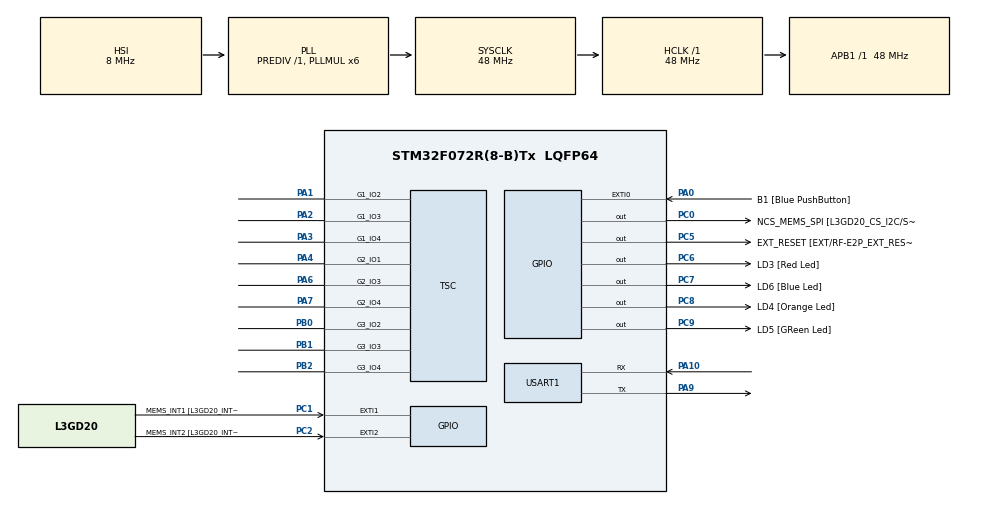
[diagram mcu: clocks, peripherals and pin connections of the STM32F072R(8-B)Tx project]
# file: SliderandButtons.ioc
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Mcu.Family=STM32F0
Mcu.Name=STM32F072R(8-B)Tx
Mcu.Package=LQFP64
PA0.GPIO_Label=B1 [Blue PushButton]
PA0.GPIO_ModeDefaultEXTI=GPIO_MODE_EVT_RISING
PA0.Signal=GPXTI0
PA1.Mode=G1_IO2-Channel
PA1.Signal=TSC_G1_IO2
PA10.Mode=Asynchronous
PA10.Signal=USART1_RX
PA13.GPIO_Label=SWDIO
PA13.Mode=Serial_Wire
PA13.Signal=SYS_SWDIO
PA14.GPIO_Label=SWCLK
PA14.Mode=Serial_Wire
PA14.Signal=SYS_SWCLK
PA2.Mode=G1_IO3-Channel
PA2.Signal=TSC_G1_IO3
PA3.Mode=G1_IO4-Sampling
PA3.Signal=TSC_G1_IO4
PA4.Mode=G2_IO1-Channel
PA4.Signal=TSC_G2_IO1
PA6.Mode=G2_IO3-Channel
PA6.Signal=TSC_G2_IO3
PA7.Mode=G2_IO4-Sampling
PA7.Signal=TSC_G2_IO4
PA9.Mode=Asynchronous
PA9.Signal=USART1_TX
PB0.Mode=G3_IO2-Channel
PB0.Signal=TSC_G3_IO2
PB1.Mode=G3_IO3-Sampling
PB1.Signal=TSC_G3_IO3
PB2.Mode=G3_IO4-Channel
PB2.Signal=TSC_G3_IO4
PC0.GPIO_Label=NCS_MEMS_SPI [L3GD20_CS_I2C/SPI]
PC0.Signal=GPIO_Output
PC1.GPIO_Label=MEMS_INT1 [L3GD20_INT1]
PC1.GPIO_ModeDefaultEXTI=GPIO_MODE_EVT_RISING
PC1.Signal=GPXTI1
PC2.GPIO_Label=MEMS_INT2 [L3GD20_INT2]
PC2.GPIO_ModeDefaultEXTI=GPIO_MODE_EVT_RISING
PC2.Signal=GPXTI2
PC5.GPIO_Label=EXT_RESET [EXT/RF-E2P_EXT_RESET]
PC5.Signal=GPIO_Output
PC6.GPIO_Label=LD3 [Red Led]
PC6.Signal=GPIO_Output
PC7.GPIO_Label=LD6 [Blue Led]
PC7.Signal=GPIO_Output
PC8.GPIO_Label=LD4 [Orange Led]
PC8.Signal=GPIO_Output
PC9.GPIO_Label=LD5 [GReen Led]
PC9.Signal=GPIO_Output
ProjectManager.HeapSize=0x200
ProjectManager.StackSize=0x400
ProjectManager.TargetToolchain=MDK-ARM V5.32
RCC.AHBFreq_Value=48000000
RCC.APB1Freq_Value=48000000
RCC.APB1TimFreq_Value=48000000
RCC.HCLKFreq_Value=48000000
RCC.PLLMUL=RCC_PLL_MUL6
RCC.SYSCLKFreq_VALUE=48000000
RCC.SYSCLKSource=RCC_SYSCLKSOURCE_PLLCLK
TOUCHSENSING.IO_3CH_LIN_H_NBR1_CH1=G1_IO3
TOUCHSENSING.IO_3CH_LIN_H_NBR1_CH1-TouchSensing_Enabled=G1_IO3
TOUCHSENSING.IO_3CH_LIN_H_NBR1_CH2=G2_IO3
TOUCHSENSING.IO_3CH_LIN_H_NBR1_CH3=G3_IO2
TOUCHSENSING.IO_3CH_LIN_H_NBR2_CH1=G1_IO2
TOUCHSENSING.IO_3CH_LIN_H_NBR2_CH2=G2_IO1
TOUCHSENSING.IO_3CH_LIN_H_NBR2_CH3=G3_IO4
TOUCHSENSING.IO_TOUCHKEY1-TouchSensing_Enabled=G2_IO1
TOUCHSENSING.TSLPRM_COEFF_TH=2
TOUCHSENSING.TSLPRM_SENSORS_DATAS=TSLPRM_USE_3CH_LIN_H_NBR1 1 3 TSLPRM_USE_3CH_LIN_H_NBR2 1 3 
TOUCHSENSING.TSLPRM_TKEY_DETECT_IN_TH=100
TOUCHSENSING.TSLPRM_TKEY_DETECT_OUT_TH=95
TOUCHSENSING.TSLPRM_TOTAL_TOUCHKEYS=0
TOUCHSENSING.TSLPRM_USE_3CH_LIN_H=1
TOUCHSENSING.TSLPRM_USE_3CH_LIN_H_NBR=2
TSC.ChannelIOs-G1_IO2-Channel=TSC_GROUP1_IO2
TSC.ChannelIOs-G1_IO3-Channel=TSC_GROUP1_IO3
TSC.ChannelIOs-G2_IO1-Channel=TSC_GROUP2_IO1
TSC.ChannelIOs-G2_IO3-Channel=TSC_GROUP2_IO3
TSC.ChannelIOs-G3_IO2-Channel=TSC_GROUP3_IO2
TSC.ChannelIOs-G3_IO4-Channel=TSC_GROUP3_IO4
TSC.SamplingIOs-G1_IO4-Sampling=TSC_GROUP1_IO4
TSC.SamplingIOs-G2_IO4-Sampling=TSC_GROUP2_IO4
TSC.SamplingIOs-G3_IO3-Sampling=TSC_GROUP3_IO3
USART1.VirtualMode-Asynchronous=VM_ASYNC
VP_TOUCHSENSING_VS_TOUCHSENSING.Mode=TouchSensing_Enabled
board=STM32F072B-DISCO

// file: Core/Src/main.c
/* USER CODE BEGIN Header */
/**
  ******************************************************************************
  * @file           : main.c
  * @brief          : Main program body
  ******************************************************************************
  * @attention
  *
  * Copyright (c) 2022 STMicroelectronics.
  * All rights reserved.
  *
  * This software is licensed under terms that can be found in the LICENSE file
  * in the root directory of this software component.
  * If no LICENSE file comes with this software, it is provided AS-IS.
  *
  ******************************************************************************
  */
/* USER CODE END Header */
#include "main.h"
#include "touchsensing.h"

/* USER CODE BEGIN Includes */
#include <stdio.h>
/* USER CODE END Includes */

/* USER CODE BEGIN PD */
#define SBUF_SIZE (128)
/* USER CODE END PD */

/* USER CODE BEGIN PM */
#define LINEAR_DETECT(chan) ((MyLinRots[chan].p_Data->StateId == TSL_STATEID_DETECT) || \
                       (MyLinRots[chan].p_Data->StateId == TSL_STATEID_DEB_RELEASE_DETECT))
#define LINEAR_POSITION(chan) (MyLinRots[chan].p_Data->Position)

#define KEY_DETECT(chan) ((MyTKeys[chan].p_Data->StateId == TSL_STATEID_DETECT) || \
                       (MyTKeys[chan].p_Data->StateId == TSL_STATEID_DEB_RELEASE_DETECT))

/* USER CODE END PM */

 TSC_HandleTypeDef htsc;

UART_HandleTypeDef huart1;

/* USER CODE BEGIN PV */
char sbuf[SBUF_SIZE];
uint8_t pos;
int size;
/* USER CODE END PV */

void SystemClock_Config(void);
static void MX_GPIO_Init(void);
static void MX_TSC_Init(void);
static void MX_USART1_UART_Init(void);

int main(void)
{
  /* USER CODE BEGIN 1 */
  tsl_user_status_t tsl_status;

  /* USER CODE END 1 */

  /* MCU Configuration--------------------------------------------------------*/

  /* Reset of all peripherals, Initializes the Flash interface and the Systick. */
  HAL_Init();

  /* Configure the system clock */
  SystemClock_Config();

  /* Initialize all configured peripherals */
  MX_GPIO_Init();
  MX_TSC_Init();
  MX_USART1_UART_Init();
  MX_TOUCHSENSING_Init();

  /* Infinite loop */
  /* USER CODE BEGIN WHILE */
  while (1)
  {
		tsl_status = tsl_user_Exec();
		if (tsl_status != TSL_USER_STATUS_BUSY)
		{

			if (LINEAR_DETECT(0))
			{
				HAL_GPIO_WritePin(GPIOC, LD4_Pin, GPIO_PIN_SET);

				pos = LINEAR_POSITION(0);

				size = sprintf(sbuf, "slider 0: %d\r\n", pos);
				HAL_UART_Transmit(&huart1, (uint8_t *)sbuf, size, 5000);

			} else {
				HAL_GPIO_WritePin(GPIOC, LD4_Pin, GPIO_PIN_RESET);
			}

			if (LINEAR_DETECT(1)) {
				HAL_GPIO_WritePin(GPIOC, LD5_Pin, GPIO_PIN_SET);

				pos = LINEAR_POSITION(1);

				size = sprintf(sbuf, "slider 1: %d\r\n", pos);
				HAL_UART_Transmit(&huart1, (uint8_t *)sbuf, size, 5000);
				size = sprintf(sbuf, "\tdelta 1: %d\r\n", MyLinRots[1].p_ChD[0].Delta);
				HAL_UART_Transmit(&huart1, (uint8_t *)sbuf, size, 5000);
				size = sprintf(sbuf, "\tdelta 2: %d\r\n", MyLinRots[1].p_ChD[1].Delta);
				HAL_UART_Transmit(&huart1, (uint8_t *)sbuf, size, 5000);
				size = sprintf(sbuf, "\tdelta 3: %d\r\n", MyLinRots[1].p_ChD[2].Delta);
				HAL_UART_Transmit(&huart1, (uint8_t *)sbuf, size, 5000);

			} else {
				HAL_GPIO_WritePin(GPIOC, LD5_Pin, GPIO_PIN_RESET);
			}

			// 3 touch keys
//			if (KEY_DETECT(0))
//			{
//				size = sprintf(sbuf, "key0: %d\r\n", MyTKeys[0].p_ChD->Delta);
//				HAL_UART_Transmit(&huart1, (uint8_t *)sbuf, size, 5000);
//				HAL_GPIO_WritePin(GPIOC, LD5_Pin, GPIO_PIN_SET);
//			} else {
//				HAL_GPIO_WritePin(GPIOC, LD5_Pin, GPIO_PIN_RESET);
//			}
//			if (KEY_DETECT(1))
//			{
//				size = sprintf(sbuf, "key1: %d\r\n", MyTKeys[1].p_ChD->Delta);
//				HAL_UART_Transmit(&huart1, (uint8_t *)sbuf, size, 5000);
//				HAL_GPIO_WritePin(GPIOC, LD3_Pin, GPIO_PIN_SET);
//			} else {
//				HAL_GPIO_WritePin(GPIOC, LD3_Pin, GPIO_PIN_RESET);
//			}
//			if (KEY_DETECT(2))
//			{
//				size = sprintf(sbuf, "key2: %d\r\n", MyTKeys[2].p_ChD->Delta);
//				HAL_UART_Transmit(&huart1, (uint8_t *)sbuf, size, 5000);
//				HAL_GPIO_WritePin(GPIOC, LD6_Pin, GPIO_PIN_SET);
//			} else {
//				HAL_GPIO_WritePin(GPIOC, LD6_Pin, GPIO_PIN_RESET);
//			}
		}

    /* USER CODE END WHILE */

  }
}

void SystemClock_Config(void)
{
  RCC_OscInitTypeDef RCC_OscInitStruct = {0};
  RCC_ClkInitTypeDef RCC_ClkInitStruct = {0};
  RCC_PeriphCLKInitTypeDef PeriphClkInit = {0};

  /** Initializes the RCC Oscillators according to the specified parameters
  * in the RCC_OscInitTypeDef structure.
  */
  RCC_OscInitStruct.OscillatorType = RCC_OSCILLATORTYPE_HSI;
  RCC_OscInitStruct.HSIState = RCC_HSI_ON;
  RCC_OscInitStruct.HSICalibrationValue = RCC_HSICALIBRATION_DEFAULT;
  RCC_OscInitStruct.PLL.PLLState = RCC_PLL_ON;
  RCC_OscInitStruct.PLL.PLLSource = RCC_PLLSOURCE_HSI;
  RCC_OscInitStruct.PLL.PLLMUL = RCC_PLL_MUL6;
  RCC_OscInitStruct.PLL.PREDIV = RCC_PREDIV_DIV1;
  if (HAL_RCC_OscConfig(&RCC_OscInitStruct) != HAL_OK)
  {
    Error_Handler();
  }

  /** Initializes the CPU, AHB and APB buses clocks
  */
  RCC_ClkInitStruct.ClockType = RCC_CLOCKTYPE_HCLK|RCC_CLOCKTYPE_SYSCLK
                              |RCC_CLOCKTYPE_PCLK1;
  RCC_ClkInitStruct.SYSCLKSource = RCC_SYSCLKSOURCE_PLLCLK;
  RCC_ClkInitStruct.AHBCLKDivider = RCC_SYSCLK_DIV1;
  RCC_ClkInitStruct.APB1CLKDivider = RCC_HCLK_DIV1;

  if (HAL_RCC_ClockConfig(&RCC_ClkInitStruct, FLASH_LATENCY_1) != HAL_OK)
  {
    Error_Handler();
  }
  PeriphClkInit.PeriphClockSelection = RCC_PERIPHCLK_USART1;
  PeriphClkInit.Usart1ClockSelection = RCC_USART1CLKSOURCE_PCLK1;
  if (HAL_RCCEx_PeriphCLKConfig(&PeriphClkInit) != HAL_OK)
  {
    Error_Handler();
  }
}

static void MX_TSC_Init(void)
{

  /** Configure the TSC peripheral
  */
  htsc.Instance = TSC;
  htsc.Init.CTPulseHighLength = TSC_CTPH_2CYCLES;
  htsc.Init.CTPulseLowLength = TSC_CTPL_2CYCLES;
  htsc.Init.SpreadSpectrum = DISABLE;
  htsc.Init.SpreadSpectrumDeviation = 1;
  htsc.Init.SpreadSpectrumPrescaler = TSC_SS_PRESC_DIV1;
  htsc.Init.PulseGeneratorPrescaler = TSC_PG_PRESC_DIV4;
  htsc.Init.MaxCountValue = TSC_MCV_8191;
  htsc.Init.IODefaultMode = TSC_IODEF_OUT_PP_LOW;
  htsc.Init.SynchroPinPolarity = TSC_SYNC_POLARITY_FALLING;
  htsc.Init.AcquisitionMode = TSC_ACQ_MODE_NORMAL;
  htsc.Init.MaxCountInterrupt = DISABLE;
  htsc.Init.ChannelIOs = TSC_GROUP1_IO2|TSC_GROUP1_IO3|TSC_GROUP2_IO1|TSC_GROUP2_IO3
                    |TSC_GROUP3_IO2|TSC_GROUP3_IO4;
  htsc.Init.ShieldIOs = 0;
  htsc.Init.SamplingIOs = TSC_GROUP1_IO4|TSC_GROUP2_IO4|TSC_GROUP3_IO3;
  if (HAL_TSC_Init(&htsc) != HAL_OK)
  {
    Error_Handler();
  }

}

static void MX_USART1_UART_Init(void)
{

  huart1.Instance = USART1;
  huart1.Init.BaudRate = 38400;
  huart1.Init.WordLength = UART_WORDLENGTH_8B;
  huart1.Init.StopBits = UART_STOPBITS_1;
  huart1.Init.Parity = UART_PARITY_NONE;
  huart1.Init.Mode = UART_MODE_TX_RX;
  huart1.Init.HwFlowCtl = UART_HWCONTROL_NONE;
  huart1.Init.OverSampling = UART_OVERSAMPLING_16;
  huart1.Init.OneBitSampling = UART_ONE_BIT_SAMPLE_DISABLE;
  huart1.AdvancedInit.AdvFeatureInit = UART_ADVFEATURE_NO_INIT;
  if (HAL_UART_Init(&huart1) != HAL_OK)
  {
    Error_Handler();
  }

}

static void MX_GPIO_Init(void)
{
  GPIO_InitTypeDef GPIO_InitStruct = {0};

  /* GPIO Ports Clock Enable */
  __HAL_RCC_GPIOC_CLK_ENABLE();
  __HAL_RCC_GPIOA_CLK_ENABLE();
  __HAL_RCC_GPIOB_CLK_ENABLE();

  /*Configure GPIO pin Output Level */
  HAL_GPIO_WritePin(GPIOC, NCS_MEMS_SPI_Pin|EXT_RESET_Pin|LD3_Pin|LD6_Pin
                          |LD4_Pin|LD5_Pin, GPIO_PIN_RESET);

  /*Configure GPIO pins : NCS_MEMS_SPI_Pin EXT_RESET_Pin LD3_Pin LD6_Pin
                           LD4_Pin LD5_Pin */
  GPIO_InitStruct.Pin = NCS_MEMS_SPI_Pin|EXT_RESET_Pin|LD3_Pin|LD6_Pin
                          |LD4_Pin|LD5_Pin;
  GPIO_InitStruct.Mode = GPIO_MODE_OUTPUT_PP;
  GPIO_InitStruct.Pull = GPIO_NOPULL;
  GPIO_InitStruct.Speed = GPIO_SPEED_FREQ_LOW;
  HAL_GPIO_Init(GPIOC, &GPIO_InitStruct);

  /*Configure GPIO pins : MEMS_INT1_Pin MEMS_INT2_Pin */
  GPIO_InitStruct.Pin = MEMS_INT1_Pin|MEMS_INT2_Pin;
  GPIO_InitStruct.Mode = GPIO_MODE_EVT_RISING;
  GPIO_InitStruct.Pull = GPIO_NOPULL;
  HAL_GPIO_Init(GPIOC, &GPIO_InitStruct);

  /*Configure GPIO pin : B1_Pin */
  GPIO_InitStruct.Pin = B1_Pin;
  GPIO_InitStruct.Mode = GPIO_MODE_EVT_RISING;
  GPIO_InitStruct.Pull = GPIO_NOPULL;
  HAL_GPIO_Init(B1_GPIO_Port, &GPIO_InitStruct);

}

void Error_Handler(void)
{
  __disable_irq();
  while (1)
  {
  }
}
